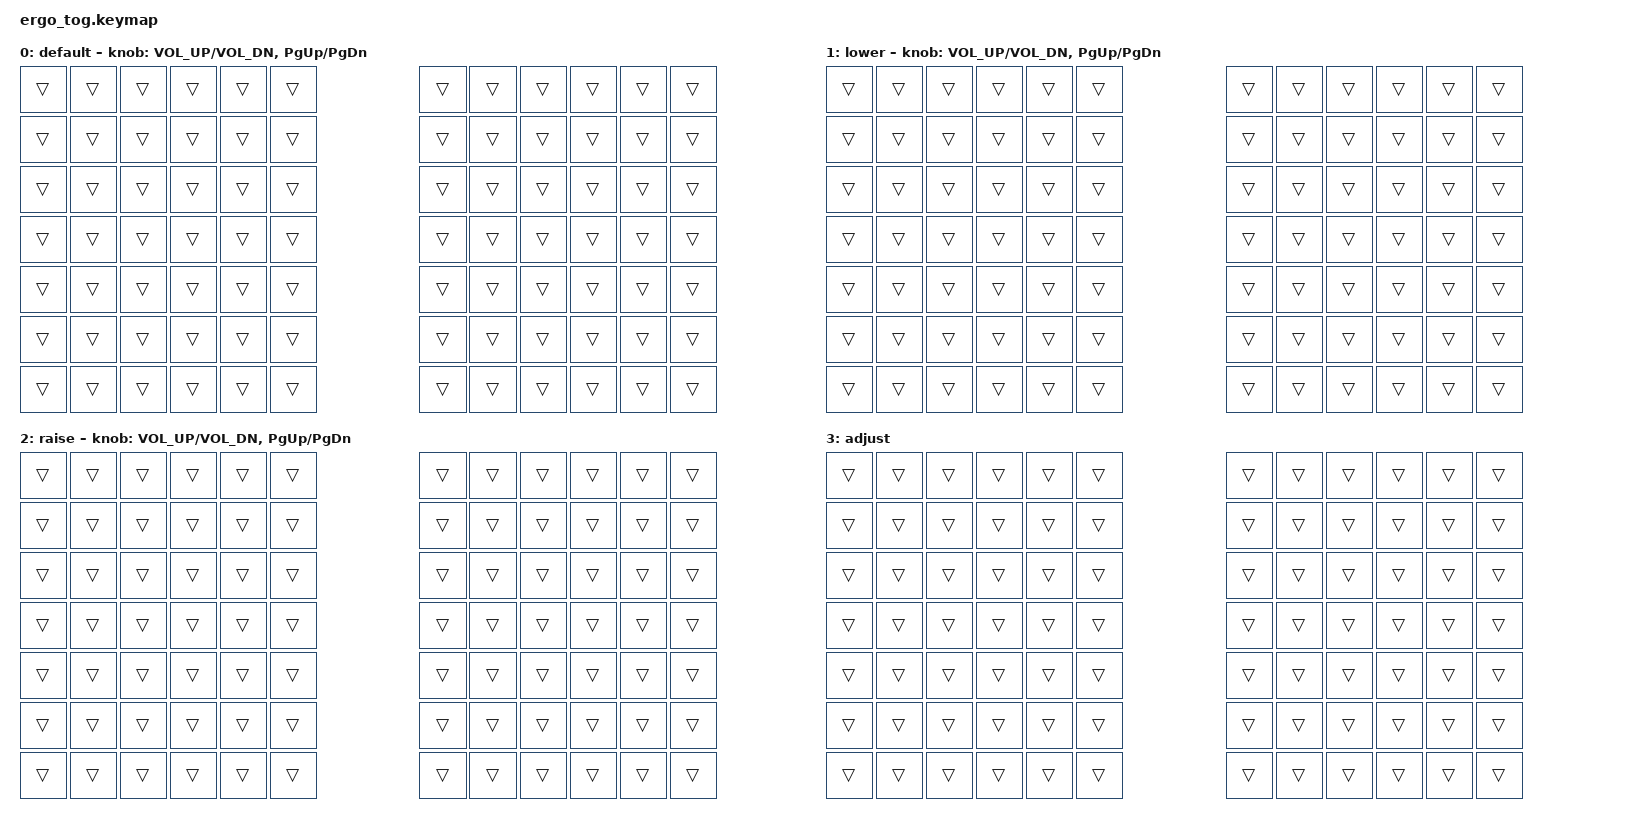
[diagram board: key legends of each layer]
/*
 * Copyright (c) 2020 The ZMK Contributors
 *
 * SPDX-License-Identifier: MIT
 */

#include <behaviors.dtsi>
#include <dt-bindings/zmk/keys.h>
#include <dt-bindings/zmk/bt.h>
#include <dt-bindings/zmk/rgb.h>
#include <dt-bindings/zmk/ext_power.h>

#define BASE 0
#define LOWER 1
#define RAISE 2
#define ADJUST 3

/ {

   // Activate ADJUST layer by pressing raise and lower
    conditional_layers {
        compatible = "zmk,conditional-layers";
        adjust_layer {
            if-layers = <LOWER RAISE>;
            then-layer = <ADJUST>;
        };
    };

    keymap {
        compatible = "zmk,keymap";

        default_layer {
            label = "default";
// ------------------------------------------------------------------------------------------------------------
// |   `   |  1  |  2  |  3   |  4   |  5   |                   |  6   |  7    |  8    |  9   |   0   |       |
// |  ESC  |  Q  |  W  |  E   |  R   |  T   |                   |  Y   |  U    |  I    |  O   |   P   | BKSPC |
// |  TAB  |  A  |  S  |  D   |  F   |  G   |                   |  H   |  J    |  K    |  L   |   ;   |   '   |
// | SHIFT |  Z  |  X  |  C   |  V   |  B   |  MUTE  |  |       |  N   |  M    |  ,    |  .   |   /   | SHIFT |
//               | GUI | ALT  | CTRL | LOWER|  ENTER |  | SPACE | RAISE| CTRL  | ALT   | GUI  |
            bindings = <

&trans &trans &trans &trans &trans &trans              &trans &trans &trans &trans &trans &trans
&trans &trans &trans &trans &trans &trans              &trans &trans &trans &trans &trans &trans
&trans &trans &trans &trans &trans &trans              &trans &trans &trans &trans &trans &trans
&trans &trans &trans &trans &trans &trans              &trans &trans &trans &trans &trans &trans
&trans &trans &trans &trans &trans &trans              &trans &trans &trans &trans &trans &trans
&trans &trans &trans &trans &trans &trans              &trans &trans &trans &trans &trans &trans
&trans &trans &trans &trans &trans &trans              &trans &trans &trans &trans &trans &trans
                      >;

            sensor-bindings = <&inc_dec_kp C_VOL_UP C_VOL_DN &inc_dec_kp PG_UP PG_DN>;
        };

        lower_layer {
            label = "lower";
// TODO: Some binds are waiting for shifted keycode support.
// ------------------------------------------------------------------------------------------------------------
// |       |  F1 |  F2 |  F3  |  F4  |  F5  |                   |  F6  |  F7   |  F8   |  F9  |  F10  |  F11  |
// |   `   |  1  |  2  |  3   |  4   |  5   |                   |  6   |  7    |  8    |  9   |   0   |  F12  |
// |       |  !  |  @  |  #   |  $   |  %   |                   |  ^   |  &    |  *    |  (   |   )   |   |   |
// |       |  =  |  -  |  +   |  {   |  }   |        |  |       |  [   |  ]    |  ;    |  :   |   \   |       |
//               |     |      |      |      |        |  |       |      |       |       |      |
            bindings = <
&trans &trans &trans &trans &trans &trans              &trans &trans &trans &trans &trans &trans
&trans &trans &trans &trans &trans &trans              &trans &trans &trans &trans &trans &trans
&trans &trans &trans &trans &trans &trans              &trans &trans &trans &trans &trans &trans
&trans &trans &trans &trans &trans &trans              &trans &trans &trans &trans &trans &trans
&trans &trans &trans &trans &trans &trans              &trans &trans &trans &trans &trans &trans
&trans &trans &trans &trans &trans &trans              &trans &trans &trans &trans &trans &trans
&trans &trans &trans &trans &trans &trans              &trans &trans &trans &trans &trans &trans>;

            sensor-bindings = <&inc_dec_kp C_VOL_UP C_VOL_DN &inc_dec_kp PG_UP PG_DN>;
        };

        raise_layer {
            label = "raise";
// ------------------------------------------------------------------------------------------------------------
// | BTCLR | BT1  | BT2  |  BT3  |  BT4  |  BT5 |                |      |      |       |      |       |       |
// |       | INS  | PSCR | GUI   |       |      |                | PGUP |      |   ^   |      |       |       |
// |       | ALT  | CTRL | SHIFT |       | CAPS |                | PGDN |   <- |   v   |  ->  |  DEL  | BKSPC |
// |       | UNDO | CUT  | COPY  | PASTE |      |      |  |      |      |      |       |      |       |       |
//                |      |       |       |      |      |  |      |      |      |       |      |
            bindings = <
&trans &trans &trans &trans &trans &trans              &trans &trans &trans &trans &trans &trans
&trans &trans &trans &trans &trans &trans              &trans &trans &trans &trans &trans &trans
&trans &trans &trans &trans &trans &trans              &trans &trans &trans &trans &trans &trans
&trans &trans &trans &trans &trans &trans              &trans &trans &trans &trans &trans &trans
&trans &trans &trans &trans &trans &trans              &trans &trans &trans &trans &trans &trans
&trans &trans &trans &trans &trans &trans              &trans &trans &trans &trans &trans &trans
&trans &trans &trans &trans &trans &trans              &trans &trans &trans &trans &trans &trans
 >;

            sensor-bindings = <&inc_dec_kp C_VOL_UP C_VOL_DN &inc_dec_kp PG_UP PG_DN>;
        };

        adjust_layer {
// ----------------------------------------------------------------------------------------------------------------------------
// | BTCLR  |  BT1    |  BT2    |   BT3   |   BT4   |   BT5   |                  |      |      |       |      |       |       |
// | EXTPWR | RGB_HUD | RGB_HUI | RGB_SAD | RGB_SAI | RGB_EFF |                  |      |      |       |      |       |       |
// |        | RGB_BRD | RGB_BRI |         |         |         |                  |      |      |       |      |       |       |
// |        |         |         |         |         |         | RGB_TOG | |      |      |      |       |      |       |       |
//                    |         |         |         |         |         | |      |      |      |       |      |
            label = "adjust";
            bindings = <
&trans &trans &trans &trans &trans &trans              &trans &trans &trans &trans &trans &trans
&trans &trans &trans &trans &trans &trans              &trans &trans &trans &trans &trans &trans
&trans &trans &trans &trans &trans &trans              &trans &trans &trans &trans &trans &trans
&trans &trans &trans &trans &trans &trans              &trans &trans &trans &trans &trans &trans
&trans &trans &trans &trans &trans &trans              &trans &trans &trans &trans &trans &trans
&trans &trans &trans &trans &trans &trans              &trans &trans &trans &trans &trans &trans
&trans &trans &trans &trans &trans &trans              &trans &trans &trans &trans &trans &trans
>;
        };

    };
};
